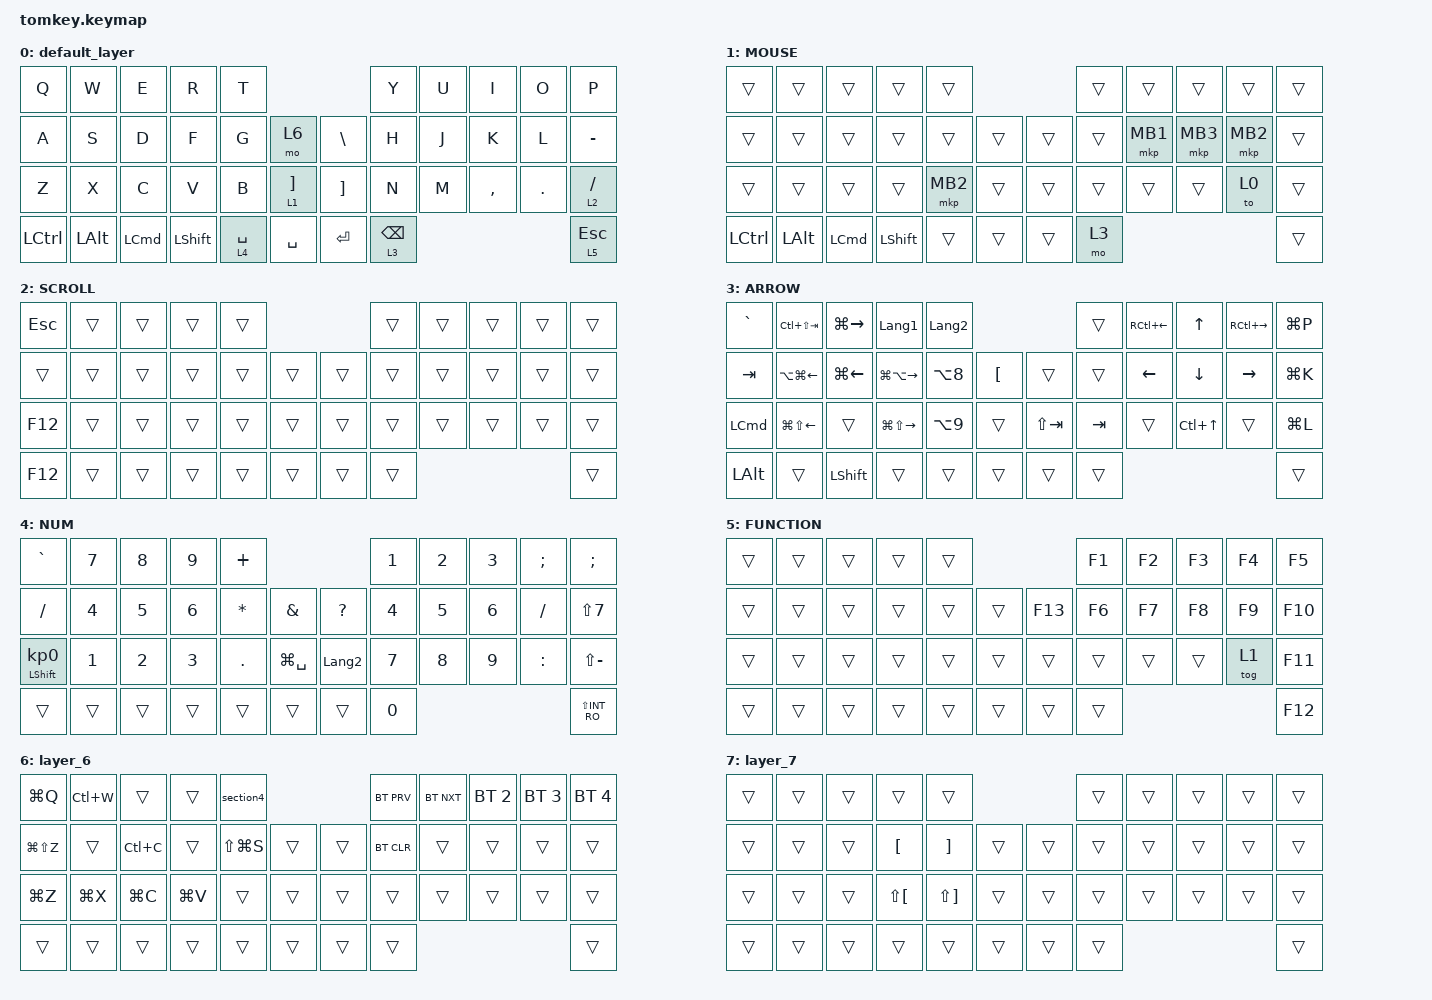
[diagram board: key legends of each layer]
#include <behaviors.dtsi>
#include <dt-bindings/zmk/bt.h>
#include <dt-bindings/zmk/keys.h>
#include <dt-bindings/zmk/pointing.h>

/ {
    macros {
        winalts: winalts {
            compatible = "zmk,behavior-macro";
            #binding-cells = <0>;
            bindings = <&kp LEFT_WIN &kp LEFT_SHIFT &kp S>;
            label = "WINALTS";
        };

        section4: section4 {
            compatible = "zmk,behavior-macro";
            #binding-cells = <0>;
            bindings = <&kp HASH &kp HASH &kp HASH &kp HASH>;
            label = "SECTION4";
        };

        text1: text1 {
            compatible = "zmk,behavior-macro";
            #binding-cells = <0>;
            bindings = <&none &kp LS(X) &kp LS(M) &kp N2 &kp N7 &kp N5 &kp N4 &kp N7 &kp TAB>;
            label = "TEXT1";
        };

        text2: text2 {
            compatible = "zmk,behavior-macro";
            #binding-cells = <0>;
            bindings = <&none &kp LS(A) &kp W &kp A &kp W &kp A &kp N &kp N>;
            label = "TEXT2";
        };

        text3: text3 {
            compatible = "zmk,behavior-macro";
            #binding-cells = <0>;
            bindings = <&none &kp K &kp E &kp T &kp A &kp M &kp E &kp AT &kp ENTER>;
            label = "TEXT3";
        };
    };

    combos {
        compatible = "zmk,combos";

        ID {
            bindings = <&text1>;
            key-positions = <5 26>;
        };

        Pass1 {
            bindings = <&text2>;
            key-positions = <6 26>;
        };

        Pass3 {
            bindings = <&text3>;
            key-positions = <26 7>;
        };
    };

    keymap {
        compatible = "zmk,keymap";

        default_layer {
            bindings = <
&kp Q      &kp W         &kp E             &kp R           &kp T                                                    &kp Y            &kp U  &kp I      &kp O    &kp P
&kp A      &kp S         &kp D             &kp F           &kp G        &mo 6                    &kp BACKSLASH      &kp H            &kp J  &kp K      &kp L    &kp MINUS
&kp Z      &kp X         &kp C             &kp V           &kp B        &lt 1 RIGHT_BRACKET      &kp RIGHT_BRACKET  &kp N            &kp M  &kp COMMA  &kp DOT  &lt 2 SLASH
&kp LCTRL  &kp LEFT_ALT  &kp LEFT_COMMAND  &kp LEFT_SHIFT  &lt 4 SPACE  &kp SPACE                &kp ENTER          &lt 3 BACKSPACE                             &lt 5 ESCAPE
            >;
        };

        MOUSE {
            bindings = <
&trans     &trans        &trans            &trans          &trans                        &trans  &trans    &trans    &trans    &trans
&trans     &trans        &trans            &trans          &trans    &trans      &trans  &trans  &mkp MB1  &mkp MB3  &mkp MB2  &trans
&trans     &trans        &trans            &trans          &mkp MB2  &trans      &trans  &trans  &trans    &trans    &to 0     &trans
&kp LCTRL  &kp LEFT_ALT  &kp LEFT_COMMAND  &kp LEFT_SHIFT  &trans    &trans      &trans  &mo 3                                 &trans
            >;
        };

        SCROLL {
            bindings = <
&kp ESCAPE  &trans  &trans  &trans  &trans                      &trans  &trans  &trans  &trans  &trans
&trans      &trans  &trans  &trans  &trans  &trans      &trans  &trans  &trans  &trans  &trans  &trans
&kp F12     &trans  &trans  &trans  &trans  &trans      &trans  &trans  &trans  &trans  &trans  &trans
&kp F12     &trans  &trans  &trans  &trans  &trans      &trans  &trans                          &trans
            >;
        };

        ARROW {
            bindings = <
&kp GRAVE     &kp LC(LS(TAB))         &kp LG(RIGHT)   &kp LANGUAGE_1           &kp LANGUAGE_2                                     &trans   &kp RC(LEFT_ARROW)  &kp UP_ARROW      &kp RC(RIGHT_ARROW)  &kp LG(P)
&kp TAB       &kp LA(LG(LEFT_ARROW))  &kp LG(LEFT)    &kp LG(LA(RIGHT_ARROW))  &kp LA(N8)      &kp LEFT_BRACKET      &trans       &trans   &kp LEFT_ARROW      &kp DOWN_ARROW    &kp RIGHT_ARROW      &kp LG(K)
&kp LCMD      &kp LG(LS(LEFT_ARROW))  &trans          &kp LG(LS(RIGHT_ARROW))  &kp LA(N9)      &trans                &kp LS(TAB)  &kp TAB  &trans              &kp LC(UP_ARROW)  &trans               &kp LG(L)
&kp LEFT_ALT  &trans                  &kp LEFT_SHIFT  &trans                   &trans          &trans                &trans       &trans                                                              &trans
            >;
        };

        NUM {
            bindings = <
&kp GRAVE                   &kp NUMBER_7  &kp NUMBER_8  &kp N9        &kp PLUS                                         &kp NUMBER_1  &kp NUMBER_2  &kp NUMBER_3  &kp SEMICOLON  &kp SEMICOLON
&kp SLASH                   &kp NUMBER_4  &kp NUMBER_5  &kp NUMBER_6  &kp ASTERISK  &kp AMPS           &kp QUESTION    &kp NUMBER_4  &kp NUMBER_5  &kp NUMBER_6  &kp SLASH      &kp LS(N7)
&mt LEFT_SHIFT KP_NUMBER_0  &kp NUMBER_1  &kp NUMBER_2  &kp NUMBER_3  &kp PERIOD    &kp LG(SPACE)      &kp LANGUAGE_2  &kp NUMBER_7  &kp NUMBER_8  &kp NUMBER_9  &kp COLON      &kp LS(MINUS)
&trans                      &trans        &trans        &trans        &trans        &trans             &trans          &kp NUMBER_0                                             &kp LS(INT_RO)
            >;
        };

        FUNCTION {
            bindings = <
&trans  &trans  &trans  &trans  &trans                       &kp F1  &kp F2  &kp F3  &kp F4  &kp F5
&trans  &trans  &trans  &trans  &trans  &trans      &kp F13  &kp F6  &kp F7  &kp F8  &kp F9  &kp F10
&trans  &trans  &trans  &trans  &trans  &trans      &trans   &trans  &trans  &trans  &tog 1  &kp F11
&trans  &trans  &trans  &trans  &trans  &trans      &trans   &trans                          &kp F12
            >;
        };

        layer_6 {
            bindings = <
&kp LG(Q)      &kp LC(W)  &trans     &trans     &section4                          &bt BT_PRV  &bt BT_NXT  &bt BT_SEL 2  &bt BT_SEL 3  &bt BT_SEL 4
&kp LG(LS(Z))  &trans     &kp LC(C)  &trans     &kp LS(LG(S))  &trans      &trans  &bt BT_CLR  &trans      &trans        &trans        &trans
&kp LG(Z)      &kp LG(X)  &kp LG(C)  &kp LG(V)  &trans         &trans      &trans  &trans      &trans      &trans        &trans        &trans
&trans         &trans     &trans     &trans     &trans         &trans      &trans  &trans                                              &trans
            >;
        };

        layer_7 {
            bindings = <
&trans  &trans  &trans  &trans        &trans                                     &trans  &trans  &trans  &trans  &trans
&trans  &trans  &trans  &kp LBKT      &kp RBKT               &trans      &trans  &trans  &trans  &trans  &trans  &trans
&trans  &trans  &trans  &kp LS(LBKT)  &kp LS(RIGHT_BRACKET)  &trans      &trans  &trans  &trans  &trans  &trans  &trans
&trans  &trans  &trans  &trans        &trans                 &trans      &trans  &trans                          &trans
            >;
        };
    };
};
